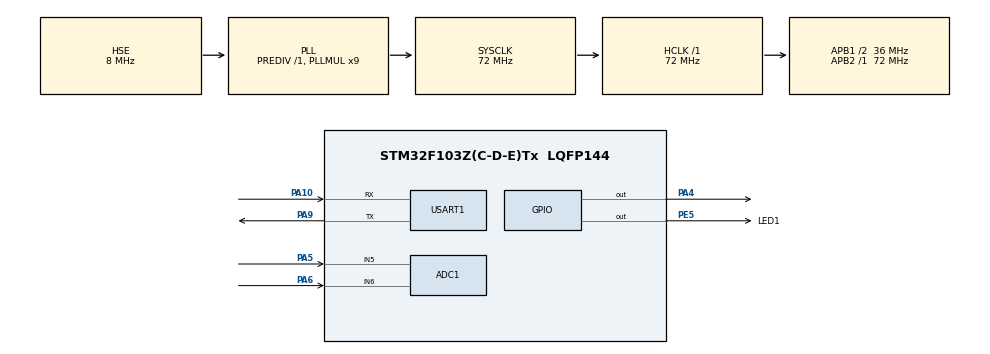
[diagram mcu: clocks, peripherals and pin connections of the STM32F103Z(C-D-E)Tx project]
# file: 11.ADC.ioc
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Mcu.Family=STM32F1
RCC.PLLSourceVirtual=RCC_PLLSOURCE_HSE
Dma.ADC1.0.Instance=DMA1_Channel1
PA10.Mode=Asynchronous
ADC1.ContinuousConvMode=ENABLE
SH.ADCx_IN6.0=ADC1_IN6,IN6
RCC.APB1CLKDivider=RCC_HCLK_DIV2
ADC1.SamplingTime-2\#ChannelRegularConversion=ADC_SAMPLETIME_1CYCLE_5
RCC.SYSCLKSource=RCC_SYSCLKSOURCE_PLLCLK
ProjectManager.StackSize=0x400
RCC.ADCPresc=RCC_ADCPCLK2_DIV6
PA13.Signal=SYS_JTMS-SWDIO
Dma.ADC1.0.PeriphDataAlignment=DMA_PDATAALIGN_HALFWORD
PA9.Mode=Asynchronous
PE5.GPIO_PuPd=GPIO_PULLUP
ProjectManager.TargetToolchain=STM32CubeIDE
Dma.ADC1.0.Mode=DMA_CIRCULAR
ADC1.Channel-3\#ChannelRegularConversion=ADC_CHANNEL_6
RCC.HCLKFreq_Value=72000000
Dma.ADC1.0.Priority=DMA_PRIORITY_HIGH
RCC.APB2TimFreq_Value=72000000
PA9.Signal=USART1_TX
Dma.ADC1.0.Direction=DMA_PERIPH_TO_MEMORY
ADC1.Channel-2\#ChannelRegularConversion=ADC_CHANNEL_5
OSC_IN.Signal=RCC_OSC_IN
PE5.Signal=GPIO_Output
RCC.USBFreq_Value=72000000
OSC_OUT.Mode=HSE-External-Oscillator
OSC_OUT.Signal=RCC_OSC_OUT
Dma.ADC1.0.MemDataAlignment=DMA_MDATAALIGN_HALFWORD
RCC.AHBFreq_Value=72000000
PA5.Signal=ADCx_IN5
PA4.GPIO_PuPd=GPIO_PULLDOWN
board=custom
RCC.PLLMUL=RCC_PLL_MUL9
RCC.APB2Freq_Value=72000000
ADC1.Rank-2\#ChannelRegularConversion=1
PA14.Mode=Serial_Wire
Dma.ADC1.0.PeriphInc=DMA_PINC_DISABLE
PE5.PinState=GPIO_PIN_SET
ADC1.NbrOfConversion=2
PA13.Mode=Serial_Wire
Mcu.Name=STM32F103Z(C-D-E)Tx
PA4.Signal=GPIO_Output
RCC.SYSCLKFreq_VALUE=72000000
Mcu.Package=LQFP144
PA6.Signal=ADCx_IN6
ADC1.master=1
ADC1.Rank-3\#ChannelRegularConversion=2
ADC1.SamplingTime-3\#ChannelRegularConversion=ADC_SAMPLETIME_1CYCLE_5
OSC_IN.Mode=HSE-External-Oscillator
PE5.GPIO_Label=LED1
USART1.VirtualMode=VM_ASYNC
PA10.Signal=USART1_RX
PA14.Signal=SYS_JTCK-SWCLK
Dma.ADC1.0.MemInc=DMA_MINC_ENABLE
ProjectManager.HeapSize=0x200
SH.ADCx_IN5.0=ADC1_IN5,IN5
NVIC.PriorityGroup=NVIC_PRIORITYGROUP_4
ADC1.NbrOfConversionFlag=1
PE5.GPIO_Speed=GPIO_SPEED_FREQ_HIGH
RCC.APB1TimFreq_Value=72000000
NVIC.DMA1_Channel1_IRQn=true\:0\:0\:false\:false\:true\:false\:true
NVIC.USART1_IRQn=true\:0\:0\:false\:false\:true\:true\:true
Dma.Request0=ADC1
RCC.APB1Freq_Value=36000000

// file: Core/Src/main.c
/* USER CODE BEGIN Header */
/**
  ******************************************************************************
  * @file           : main.c
  * @brief          : Main program body
  ******************************************************************************
  * @attention
  *
  * <h2><center>&copy; Copyright (c) 2021 STMicroelectronics.
  * All rights reserved.</center></h2>
  *
  * This software component is licensed by ST under BSD 3-Clause license,
  * the "License"; You may not use this file except in compliance with the
  * License. You may obtain a copy of the License at:
  *                        opensource.org/licenses/BSD-3-Clause
  *
  ******************************************************************************
  */
/* USER CODE END Header */
#include "main.h"
#include "adc.h"
#include "dma.h"
#include "usart.h"
#include "gpio.h"

/* USER CODE BEGIN Includes */
#include <stdio.h>
/* USER CODE END Includes */

void SystemClock_Config(void);

/* USER CODE BEGIN 0 */
#define LED1_On() HAL_GPIO_WritePin(LED1_GPIO_Port, LED1_Pin, GPIO_PIN_RESET)
#define LED1_Off() HAL_GPIO_WritePin(LED1_GPIO_Port, LED1_Pin, GPIO_PIN_SET)

float ad1 = 0, ad2 = 0;
uint16_t ADC_Value[100];
uint8_t i;
/* USER CODE END 0 */

int main(void)
{

  /* MCU Configuration--------------------------------------------------------*/

  /* Reset of all peripherals, Initializes the Flash interface and the Systick. */
  HAL_Init();

  /* Configure the system clock */
  SystemClock_Config();

  /* Initialize all configured peripherals */
  MX_GPIO_Init();
  MX_DMA_Init();
  MX_ADC1_Init();
  MX_USART1_UART_Init();
  /* USER CODE BEGIN 2 */
  HAL_ADCEx_Calibration_Start(&hadc1);
  HAL_ADC_Start_DMA(&hadc1, (uint32_t*)ADC_Value, 100);
  printf("***********BEGIN************\r\n");
  /* USER CODE END 2 */

  /* Infinite loop */
  while (1)
  {

    /* USER CODE BEGIN 3 */
	  HAL_Delay(500);
	  for(i = 0; i < 100;)
	  {
		  ad1 += (float)ADC_Value[i++];
		  ad2 += (float)ADC_Value[i++];
	  }
	  ad1 /= 50;
	  ad2 /= 50;
	  printf("AD1 value = %.3fV \r\n", ad1*3.3/4096);
	  printf("AD2 value = %.3fV \r\n", ad2*3.3/4096);
  }
  /* USER CODE END 3 */
}

void SystemClock_Config(void)
{
  RCC_OscInitTypeDef RCC_OscInitStruct = {0};
  RCC_ClkInitTypeDef RCC_ClkInitStruct = {0};
  RCC_PeriphCLKInitTypeDef PeriphClkInit = {0};

  /** Initializes the RCC Oscillators according to the specified parameters
  * in the RCC_OscInitTypeDef structure.
  */
  RCC_OscInitStruct.OscillatorType = RCC_OSCILLATORTYPE_HSE;
  RCC_OscInitStruct.HSEState = RCC_HSE_ON;
  RCC_OscInitStruct.HSEPredivValue = RCC_HSE_PREDIV_DIV1;
  RCC_OscInitStruct.HSIState = RCC_HSI_ON;
  RCC_OscInitStruct.PLL.PLLState = RCC_PLL_ON;
  RCC_OscInitStruct.PLL.PLLSource = RCC_PLLSOURCE_HSE;
  RCC_OscInitStruct.PLL.PLLMUL = RCC_PLL_MUL9;
  if (HAL_RCC_OscConfig(&RCC_OscInitStruct) != HAL_OK)
  {
    Error_Handler();
  }
  /** Initializes the CPU, AHB and APB buses clocks
  */
  RCC_ClkInitStruct.ClockType = RCC_CLOCKTYPE_HCLK|RCC_CLOCKTYPE_SYSCLK
                              |RCC_CLOCKTYPE_PCLK1|RCC_CLOCKTYPE_PCLK2;
  RCC_ClkInitStruct.SYSCLKSource = RCC_SYSCLKSOURCE_PLLCLK;
  RCC_ClkInitStruct.AHBCLKDivider = RCC_SYSCLK_DIV1;
  RCC_ClkInitStruct.APB1CLKDivider = RCC_HCLK_DIV2;
  RCC_ClkInitStruct.APB2CLKDivider = RCC_HCLK_DIV1;

  if (HAL_RCC_ClockConfig(&RCC_ClkInitStruct, FLASH_LATENCY_2) != HAL_OK)
  {
    Error_Handler();
  }
  PeriphClkInit.PeriphClockSelection = RCC_PERIPHCLK_ADC;
  PeriphClkInit.AdcClockSelection = RCC_ADCPCLK2_DIV6;
  if (HAL_RCCEx_PeriphCLKConfig(&PeriphClkInit) != HAL_OK)
  {
    Error_Handler();
  }
}

/* USER CODE BEGIN 4 */
// 须在头文件中添加 #include <stdio.h>

//////////////////////////////////////////////////////////////////
// 加入以下代码,支持printf函数,而不需要选择use MicroLIB
// MDK中同样定义了 __GNUC__，使用__ARMCC_VERSION 或  __CC_ARM 区分MDK和STM32CubeIDE
// MDK预定义宏，详见 ：https://www.keil.com/support/man/docs/armcc/armcc_chr1359125007083.htm

#ifdef __CC_ARM // 或 #ifdef __ARMCC_VERSION
  #define PUTCHAR_PROTOTYPE int fputc(int ch, FILE *f)
#else
  #define PUTCHAR_PROTOTYPE int __io_putchar(int ch)
#endif
#if 1

FILE __stdout;
//定义_sys_exit()以避免使用半主机模式
void _sys_exit(int x) {
  x = x;
}
//重定义fputc函数
PUTCHAR_PROTOTYPE {
  // 具体哪个串口可以更改huart2为其它串口
   HAL_UART_Transmit(&huart1, (uint8_t *)&ch, 1 , 0xffff);
//  while ((USART1->SR & 0X40) == 0) {
//  }; //循环发送,直到发送完毕
//  USART1->DR = (uint8_t) ch;

//  while ((USART2->SR & 0X40) == 0) {
//  }; //循环发送,直到发送完毕
//  USART2->DR = (uint8_t) ch;

  return ch;
}
#endif

/* USER CODE END 4 */

void Error_Handler(void)
{
  __disable_irq();
  while (1)
  {
  }
}

/************************ (C) COPYRIGHT STMicroelectronics *****END OF FILE****/
